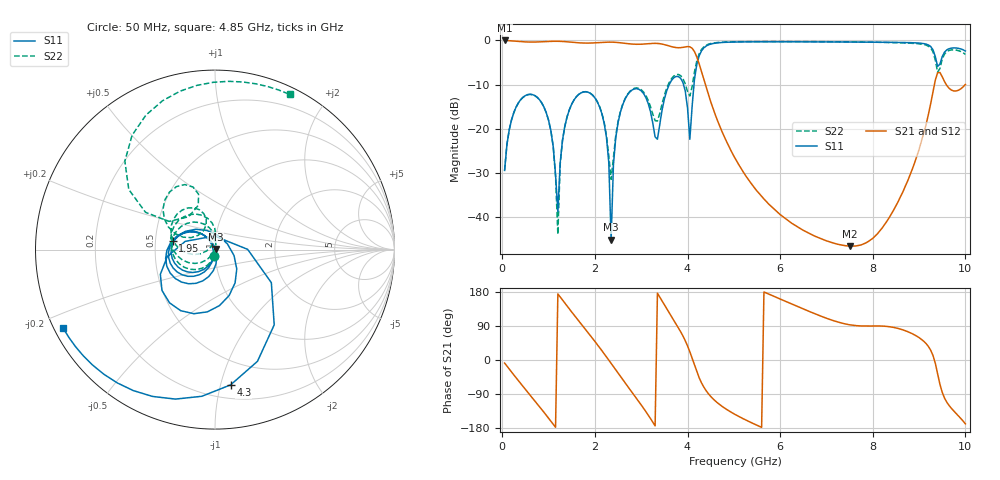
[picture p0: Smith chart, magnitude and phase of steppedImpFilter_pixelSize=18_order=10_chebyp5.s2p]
! freq	dB(S11)	phase(S11)	dB(S12)	phase(S12)
!  dB(S21)	phase(S21)	dB(S22)	phase(S22)
!S-par simulation data
#  GHz  S  DB  R 50
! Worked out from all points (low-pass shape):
!   200 points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, 50 MHz to 10 GHz, reference 50 ohm
!   highest |S21| = -0.02 dB at 50 MHz (marker M1); lowest = -46.6 dB at 7.5 GHz (marker M2)
!   |S21| within 3 dB of the highest: start of sweep to 4.17 GHz
!   lowest |S11| = -45.1 dB at 2.35 GHz (marker M3), VSWR 1.01, Z = 50.4 + j0.425 ohm
!   |S11| at or under -10 dB: start of sweep to 3.605 GHz; 3.913 GHz to 4.14 GHz (227.2 MHz wide, 5.64 % of centre)
!   |S22| runs from -43.9 to -0.3 dB; largest |S21 - S12| = 0
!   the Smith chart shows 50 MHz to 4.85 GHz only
!   S11 on the Smith chart (normalised r, x): 50 MHz: 0.99, -0.07; 1.95 GHz: 0.62, +0.06; 4.3 GHz: 0.30, -1.08; 4.85 GHz: 0.03, -0.24
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0.05  -29.43 -96.9  -0.02 -8.1  -0.02 -8.1  -29.44 -98.2
0.55  -12.28 -168.3  -0.37 -85.1  -0.37 -85.1  -12.29 177.4
1.1  -24.04 121.5  -0.21 -169.6  -0.21 -169.6  -24.10 87.4
1.2  -38.75 -142.7  -0.21 174.4  -0.21 174.4  -43.90 -135.2
1.35  -19.44 -109.2  -0.28 150.3  -0.28 150.3  -19.49 -137.3
1.75  -11.69 -163.1  -0.60 87.8  -0.60 87.8  -11.67 157.3
1.95  -12.40 168.7  -0.59 56.9  -0.59 56.9  -12.37 125.9
2.25  -22.01 122.2  -0.41 8.1  -0.41 8.1  -21.56 87.5
2.35  -45.13 49.7  -0.40 -8.9  -0.40 -8.9  -31.47 138.8
2.45  -22.04 -85.7  -0.45 -26.1  -0.45 -26.1  -21.57 -164.0
2.65  -13.32 -119.5  -0.67 -60.1  -0.67 -60.1  -13.20 173.5
3.4  -19.09 -17.3  -0.75 166.1  -0.75 166.1  -16.57 153.3
3.85  -8.57 -142.4  -1.65 74.9  -1.65 74.9  -7.97 114.9
4.05  -22.40 92.8  -1.45 21.6  -1.45 21.6  -12.59 128.8
4.3  -2.40 -83.4  -7.02 -59.9  -7.02 -59.9  -2.08 125.9
4.85  -0.42 -152.5  -23.07 -130.9  -23.07 -130.9  -0.36 64.3
5.05  -0.37 -165.0  -27.12 -145.3  -27.12 -145.3  -0.31 50.6
6.7  -0.34 129.4  -44.05 124.5  -44.05 124.5  -0.28 -25.6
7.5  -0.37 102.9  -46.58 92.9  -46.58 92.9  -0.35 -52.6
8.35  -0.44 73.4  -40.19 88.0  -40.19 88.0  -0.48 -79.3
9.4  -5.88 26.5  -7.31 -36.0  -7.31 -36.0  -7.20 -120.4
10  -2.41 10.6  -9.97 -168.5  -9.97 -168.5  -3.17 -132.2
